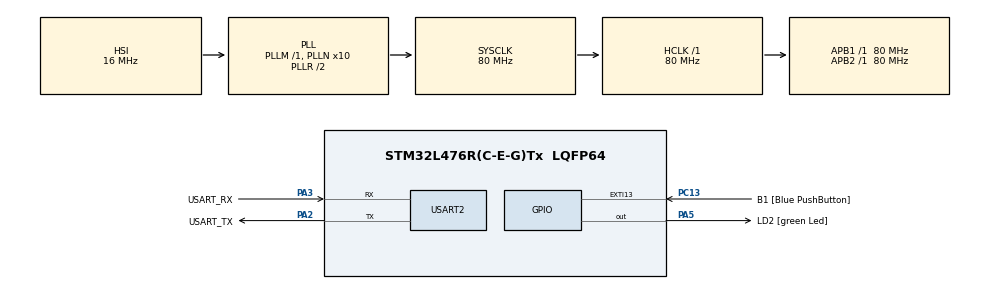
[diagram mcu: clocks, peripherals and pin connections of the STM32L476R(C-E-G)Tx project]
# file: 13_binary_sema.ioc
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FREERTOS.Tasks01=defaultTask,0,128,StartDefaultTask,Default,NULL,Dynamic,NULL,NULL
Mcu.Family=STM32L4
Mcu.Name=STM32L476R(C-E-G)Tx
Mcu.Package=LQFP64
NVIC.PriorityGroup=NVIC_PRIORITYGROUP_4
PA13\ (JTMS-SWDIO).GPIO_Label=TMS
PA13\ (JTMS-SWDIO).Mode=Serial_Wire
PA13\ (JTMS-SWDIO).Signal=SYS_JTMS-SWDIO
PA14\ (JTCK-SWCLK).GPIO_Label=TCK
PA14\ (JTCK-SWCLK).Mode=Serial_Wire
PA14\ (JTCK-SWCLK).Signal=SYS_JTCK-SWCLK
PA2.GPIO_Label=USART_TX
PA2.GPIO_Mode=GPIO_MODE_AF_PP
PA2.GPIO_PuPd=GPIO_NOPULL
PA2.GPIO_Speed=GPIO_SPEED_FREQ_VERY_HIGH
PA2.Mode=Asynchronous
PA2.Signal=USART2_TX
PA3.GPIO_Label=USART_RX
PA3.GPIO_Mode=GPIO_MODE_AF_PP
PA3.GPIO_PuPd=GPIO_NOPULL
PA3.GPIO_Speed=GPIO_SPEED_FREQ_VERY_HIGH
PA3.Mode=Asynchronous
PA3.Signal=USART2_RX
PA5.GPIO_Label=LD2 [green Led]
PA5.GPIO_ModeDefaultOutputPP=GPIO_MODE_OUTPUT_PP
PA5.GPIO_PuPd=GPIO_NOPULL
PA5.GPIO_Speed=GPIO_SPEED_FREQ_LOW
PA5.Signal=GPIO_Output
PB3\ (JTDO-TRACESWO).GPIO_Label=SWO
PB3\ (JTDO-TRACESWO).Signal=SYS_JTDO-SWO
PC13.GPIO_Label=B1 [Blue PushButton]
PC13.GPIO_ModeDefaultEXTI=GPIO_MODE_IT_FALLING
PC13.GPIO_PuPd=GPIO_NOPULL
PC13.Signal=GPXTI13
PC14-OSC32_IN\ (PC14).Mode=LSE-External-Oscillator
PC14-OSC32_IN\ (PC14).Signal=RCC_OSC32_IN
PC15-OSC32_OUT\ (PC15).Mode=LSE-External-Oscillator
PC15-OSC32_OUT\ (PC15).Signal=RCC_OSC32_OUT
PH0-OSC_IN\ (PH0).Signal=RCC_OSC_IN
PH1-OSC_OUT\ (PH1).Signal=RCC_OSC_OUT
ProjectManager.HeapSize=0x200
ProjectManager.StackSize=0x400
ProjectManager.TargetToolchain=STM32CubeIDE
RCC.ADCFreq_Value=64000000
RCC.AHBFreq_Value=80000000
RCC.APB1Freq_Value=80000000
RCC.APB1TimFreq_Value=80000000
RCC.APB2Freq_Value=80000000
RCC.APB2TimFreq_Value=80000000
RCC.CortexFreq_Value=80000000
RCC.HCLKFreq_Value=80000000
RCC.HSE_VALUE=8000000
RCC.HSI_VALUE=16000000
RCC.MSI_VALUE=4000000
RCC.PLLN=10
RCC.PLLSourceVirtual=RCC_PLLSOURCE_HSI
RCC.PREFETCH_ENABLE=1
RCC.SYSCLKFreq_VALUE=80000000
RCC.SYSCLKSource=RCC_SYSCLKSOURCE_PLLCLK
RCC.USBFreq_Value=64000000
RCC.VCOOutputFreq_Value=160000000
USART2.VirtualMode-Asynchronous=VM_ASYNC
VP_FREERTOS_VS_CMSIS_V1.Mode=CMSIS_V1
board=NUCLEO-L476RG

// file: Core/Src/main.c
/* USER CODE BEGIN Header */
/**
  ******************************************************************************
  * @file           : main.c
  * @brief          : Main program body
  ******************************************************************************
  * @attention
  *
  * Copyright (c) 2025 STMicroelectronics.
  * All rights reserved.
  *
  * This software is licensed under terms that can be found in the LICENSE file
  * in the root directory of this software component.
  * If no LICENSE file comes with this software, it is provided AS-IS.
  *
  ******************************************************************************
  */
/* USER CODE END Header */
#include "main.h"
#include "cmsis_os.h"

/* USER CODE BEGIN Includes */
#include<string.h>
#include<stdio.h>
#include<stdlib.h>

/* USER CODE END Includes */

UART_HandleTypeDef huart2;

osThreadId defaultTaskHandle;
/* USER CODE BEGIN PV */
xSemaphoreHandle binarySemaphore;   // Binary semaphore handle
xQueueHandle idQueue;               // Queue handle for storing IDs

/* USER CODE END PV */

void SystemClock_Config(void);
static void MX_GPIO_Init(void);
static void MX_USART2_UART_Init(void);
void StartDefaultTask(void const * argument);

/* USER CODE BEGIN 0 */
// Function to send a string via UART
void UART_SendString(char *str)
{
	HAL_UART_Transmit(&huart2, (uint8_t *)str, strlen(str), 1000);
}

// Producer task: generates IDs and sends them to the queue
void ProducerTask(void *parameters)
{
	unsigned int generatedID;
	portBASE_TYPE queueStatus;

	xSemaphoreGive(binarySemaphore); // Give semaphore at start

	while(1)
	{
		// Generate random ID (0 to 0x1FF)
		generatedID = (rand() & 0x1FF);

		// Send ID to queue (wait if full)
		queueStatus = xQueueSend(idQueue, &generatedID, portMAX_DELAY);

		if(queueStatus != pdPASS)
		{
			UART_SendString("Failed to send ID to queue\r\n");
		}
		else
		{
			// Release semaphore
			xSemaphoreGive(binarySemaphore);
			taskYIELD(); // Yield CPU to allow other tasks to run
		}
	}
}

// Function to process received ID
void ProcessID(unsigned char id)
{
	char message[50];
	sprintf(message, "ID received: %d\r\n", id);
	UART_SendString(message);

	// Simulate processing delay
	vTaskDelay(id);
}

// Consumer task: takes ID from queue and processes it
void ConsumerTask(void *parameters)
{
	unsigned char receivedID;
	portBASE_TYPE queueStatus;

	xSemaphoreGive(binarySemaphore); // Give semaphore at start

	while(1)
	{
		// Try to take semaphore (non-blocking)
		xSemaphoreTake(binarySemaphore, 0);

		// Try to receive ID from queue (non-blocking)
		queueStatus = xQueueReceive(idQueue, &receivedID, 0);

		if(queueStatus == pdPASS)
		{
			ProcessID(receivedID); // Process ID if received
		}
		else
		{
			UART_SendString("Queue is empty\r\n");
		}
	}
}

/* USER CODE END 0 */

int main(void)
{

  /* MCU Configuration--------------------------------------------------------*/

  /* Reset of all peripherals, Initializes the Flash interface and the Systick. */
  HAL_Init();

  /* Configure the system clock */
  SystemClock_Config();

  /* Initialize all configured peripherals */
  MX_GPIO_Init();
  MX_USART2_UART_Init();

  /* Create the thread(s) */
  /* definition and creation of defaultTask */
  osThreadDef(defaultTask, StartDefaultTask, osPriorityNormal, 0, 128);
  defaultTaskHandle = osThreadCreate(osThread(defaultTask), NULL);

  /* USER CODE BEGIN RTOS_THREADS */
  /* add threads, ... */
  vSemaphoreCreateBinary(binarySemaphore); // Create binary semaphore
  	idQueue = xQueueCreate(1, sizeof(unsigned int)); // Create queue with length 1

	// Check if semaphore and queue were created successfully
	if((binarySemaphore != NULL) && (idQueue != NULL))
	{
		xTaskCreate(ProducerTask, "ProducerTask", configMINIMAL_STACK_SIZE, NULL, 3, NULL); // Create producer
		xTaskCreate(ConsumerTask, "ConsumerTask", configMINIMAL_STACK_SIZE, NULL, 1, NULL); // Create consumer
	}
	else
	{
		UART_SendString("Queue/Semaphore creation failed\r\n");
	}
  /* USER CODE END RTOS_THREADS */

  /* Start scheduler */
  osKernelStart();

  /* We should never get here as control is now taken by the scheduler */

  /* Infinite loop */
  while (1)
  {

  }
}

void SystemClock_Config(void)
{
  RCC_OscInitTypeDef RCC_OscInitStruct = {0};
  RCC_ClkInitTypeDef RCC_ClkInitStruct = {0};

  /** Configure the main internal regulator output voltage
  */
  if (HAL_PWREx_ControlVoltageScaling(PWR_REGULATOR_VOLTAGE_SCALE1) != HAL_OK)
  {
    Error_Handler();
  }

  /** Initializes the RCC Oscillators according to the specified parameters
  * in the RCC_OscInitTypeDef structure.
  */
  RCC_OscInitStruct.OscillatorType = RCC_OSCILLATORTYPE_HSI;
  RCC_OscInitStruct.HSIState = RCC_HSI_ON;
  RCC_OscInitStruct.HSICalibrationValue = RCC_HSICALIBRATION_DEFAULT;
  RCC_OscInitStruct.PLL.PLLState = RCC_PLL_ON;
  RCC_OscInitStruct.PLL.PLLSource = RCC_PLLSOURCE_HSI;
  RCC_OscInitStruct.PLL.PLLM = 1;
  RCC_OscInitStruct.PLL.PLLN = 10;
  RCC_OscInitStruct.PLL.PLLP = RCC_PLLP_DIV7;
  RCC_OscInitStruct.PLL.PLLQ = RCC_PLLQ_DIV2;
  RCC_OscInitStruct.PLL.PLLR = RCC_PLLR_DIV2;
  if (HAL_RCC_OscConfig(&RCC_OscInitStruct) != HAL_OK)
  {
    Error_Handler();
  }

  /** Initializes the CPU, AHB and APB buses clocks
  */
  RCC_ClkInitStruct.ClockType = RCC_CLOCKTYPE_HCLK|RCC_CLOCKTYPE_SYSCLK
                              |RCC_CLOCKTYPE_PCLK1|RCC_CLOCKTYPE_PCLK2;
  RCC_ClkInitStruct.SYSCLKSource = RCC_SYSCLKSOURCE_PLLCLK;
  RCC_ClkInitStruct.AHBCLKDivider = RCC_SYSCLK_DIV1;
  RCC_ClkInitStruct.APB1CLKDivider = RCC_HCLK_DIV1;
  RCC_ClkInitStruct.APB2CLKDivider = RCC_HCLK_DIV1;

  if (HAL_RCC_ClockConfig(&RCC_ClkInitStruct, FLASH_LATENCY_4) != HAL_OK)
  {
    Error_Handler();
  }
}

static void MX_USART2_UART_Init(void)
{

  huart2.Instance = USART2;
  huart2.Init.BaudRate = 115200;
  huart2.Init.WordLength = UART_WORDLENGTH_8B;
  huart2.Init.StopBits = UART_STOPBITS_1;
  huart2.Init.Parity = UART_PARITY_NONE;
  huart2.Init.Mode = UART_MODE_TX_RX;
  huart2.Init.HwFlowCtl = UART_HWCONTROL_NONE;
  huart2.Init.OverSampling = UART_OVERSAMPLING_16;
  huart2.Init.OneBitSampling = UART_ONE_BIT_SAMPLE_DISABLE;
  huart2.AdvancedInit.AdvFeatureInit = UART_ADVFEATURE_NO_INIT;
  if (HAL_UART_Init(&huart2) != HAL_OK)
  {
    Error_Handler();
  }

}

static void MX_GPIO_Init(void)
{
  GPIO_InitTypeDef GPIO_InitStruct = {0};

  /* GPIO Ports Clock Enable */
  __HAL_RCC_GPIOC_CLK_ENABLE();
  __HAL_RCC_GPIOH_CLK_ENABLE();
  __HAL_RCC_GPIOA_CLK_ENABLE();
  __HAL_RCC_GPIOB_CLK_ENABLE();

  /*Configure GPIO pin Output Level */
  HAL_GPIO_WritePin(LD2_GPIO_Port, LD2_Pin, GPIO_PIN_RESET);

  /*Configure GPIO pin : B1_Pin */
  GPIO_InitStruct.Pin = B1_Pin;
  GPIO_InitStruct.Mode = GPIO_MODE_IT_FALLING;
  GPIO_InitStruct.Pull = GPIO_NOPULL;
  HAL_GPIO_Init(B1_GPIO_Port, &GPIO_InitStruct);

  /*Configure GPIO pin : LD2_Pin */
  GPIO_InitStruct.Pin = LD2_Pin;
  GPIO_InitStruct.Mode = GPIO_MODE_OUTPUT_PP;
  GPIO_InitStruct.Pull = GPIO_NOPULL;
  GPIO_InitStruct.Speed = GPIO_SPEED_FREQ_LOW;
  HAL_GPIO_Init(LD2_GPIO_Port, &GPIO_InitStruct);

}

void StartDefaultTask(void const * argument)
{
  for(;;)
  {
    osDelay(1);
  }
}

void Error_Handler(void)
{
  __disable_irq();
  while (1)
  {
  }
}
